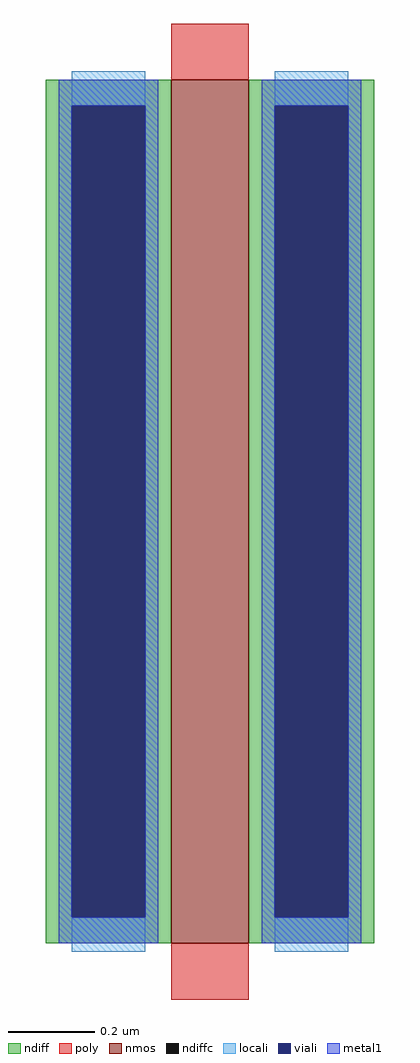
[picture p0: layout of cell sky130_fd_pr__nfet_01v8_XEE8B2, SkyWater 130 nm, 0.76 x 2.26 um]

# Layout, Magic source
magic
tech sky130A

<< nmos >>
rect -9 -100 9 100
<< ndiff >>
rect -38 94 -9 100
rect -38 -94 -32 94
rect -15 -94 -9 94
rect -38 -100 -9 -94
rect 9 94 38 100
rect 9 -94 15 94
rect 32 -94 38 94
rect 9 -100 38 -94
<< ndiffc >>
rect -32 -94 -15 94
rect 15 -94 32 94
<< poly >>
rect -9 100 9 113
rect -9 -113 9 -100
<< locali >>
rect -32 94 -15 102
rect -32 -102 -15 -94
rect 15 94 32 102
rect 15 -102 32 -94
<< viali >>
rect -32 -94 -15 94
rect 15 -94 32 94
<< metal1 >>
rect -35 94 -12 100
rect -35 -94 -32 94
rect -15 -94 -12 94
rect -35 -100 -12 -94
rect 12 94 35 100
rect 12 -94 15 94
rect 32 -94 35 94
rect 12 -100 35 -94
<< properties >>
string gencell sky130_fd_pr__nfet_01v8
string library sky130
string parameters w 2.0 l 0.18 m 1 nf 1 diffcov 100 polycov 100 guard 0 glc 0 grc 0 gtc 0 gbc 0 tbcov 100 rlcov 100 topc 0 botc 0 poverlap 0 doverlap 0 lmin 0.15 wmin 0.42 compatible {sky130_fd_pr__nfet_01v8 sky130_fd_pr__nfet_01v8_lvt  sky130_fd_bs_flash__special_sonosfet_star  sky130_fd_pr__nfet_g5v0d10v5 sky130_fd_pr__nfet_05v0_nvt  sky130_fd_pr__nfet_03v3_nvt} full_metal 0 viasrc 100 viadrn 100 viagate 100 viagb 0 viagr 0 viagl 0 viagt 0
<< end >>
